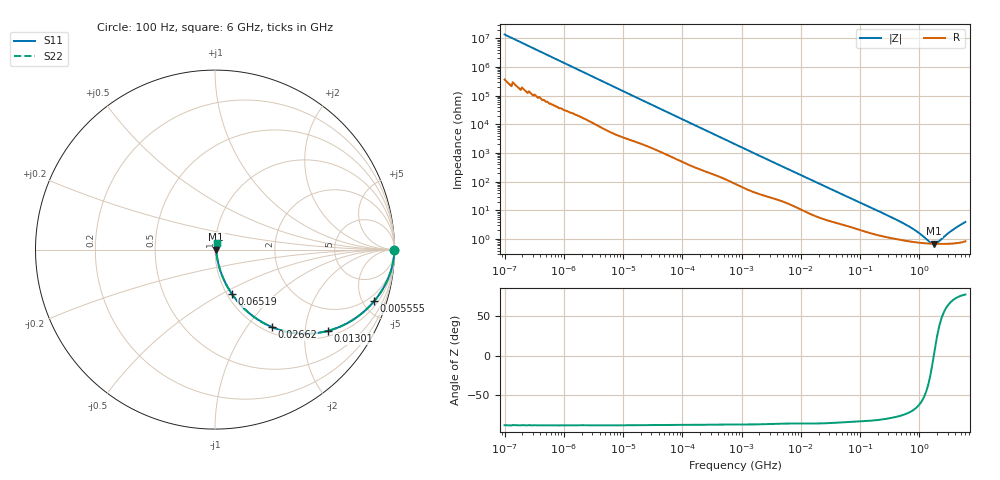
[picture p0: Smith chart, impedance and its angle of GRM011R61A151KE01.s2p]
!Murata Part Number: GRM011R61A151KE01
!These Parameters are Measured in Series Mode Connection
!Data Generated on Mar 30, 2021
!  o--ll--o
!Port1  Port2
!  o------o
!Operation Temp=25[degC], DC Bias Voltage=0[V]
!Freq. Start=100[Hz] Stop=6[GHz] 401[Steps]
# Hz S RI R 50
!Freq.(Hz) S11(Real) S11(Imag) S21(Real) S21(Imag) S12(Real) S12(Imag) S22(Real) S22(Imag)
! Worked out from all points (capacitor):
!   401 points, 100 Hz to 6 GHz, reference 50 ohm
!   read as one part in series: C = 118 pF near 109 Hz
!   lowest |Z| = 688 mohm at 1.791 GHz (marker M1)
!   series resonance near 1.757 GHz, so ESL is about 69 pH
!   S11 on the Smith chart (normalised r, x): 100 Hz: open; 5.555 MHz: 1.37, -6.00; 13.01 MHz: 1.17, -2.66; 26.62 MHz: 1.09, -1.32; 65.19 MHz: 1.05, -0.56; 6 GHz: 1.02, +0.08
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100  1 -7.4e-06  2e-07 7.4e-06  2e-07 7.4e-06  1 -7.4e-06
1283  1 -9.22e-05  2.2e-06 9.22e-05  2.2e-06 9.22e-05  1 -9.22e-05
2008  1 -0.000143  3.6e-06 0.000143  3.6e-06 0.000143  1 -0.000143
40335  0.9999 -0.00274  9.44e-05 0.00274  9.44e-05 0.00274  0.9999 -0.00274
774597  0.9956 -0.0488  0.00443 0.0488  0.00443 0.0488  0.9956 -0.0488
2169299  0.9763 -0.1304  0.0237 0.1304  0.0237 0.1304  0.9763 -0.1304
5554849  0.8859 -0.2883  0.1141 0.2883  0.1141 0.2883  0.8859 -0.2883
8692127  0.7792 -0.3843  0.2208 0.3843  0.2208 0.3843  0.7792 -0.3843
1.300572e7  0.631 -0.4522  0.369 0.4522  0.369 0.4522  0.631 -0.4522
1.555665e7  0.5524 -0.4667  0.4476 0.4667  0.4476 0.4667  0.5524 -0.4667
2.662322e7  0.3176 -0.4317  0.6824 0.4317  0.6824 0.4317  0.3176 -0.4317
4.165952e7  0.1764 -0.3419  0.8236 0.3419  0.8236 0.3419  0.1764 -0.3419
6.518806e7  0.0943 -0.2475  0.9057 0.2475  0.9057 0.2475  0.0943 -0.2475
1.395531e8  0.0337 -0.1292  0.9663 0.1292  0.9663 0.1292  0.0337 -0.1292
3.124326e8  0.0147 -0.06  0.9853 0.06  0.9853 0.06  0.0147 -0.06
7.31507e8  0.00861 -0.0231  0.9914 0.0231  0.9914 0.0231  0.00861 -0.0231
1.000774e9  0.00762 -0.014  0.9924 0.014  0.9924 0.014  0.00762 -0.014
1.497423e9  0.00695 -0.00383  0.9931 0.00383  0.9931 0.00383  0.00695 -0.00383
1.791126e9  0.00682 0.000466  0.9932 -0.000466  0.9932 -0.000466  0.00682 0.000466
2.048624e9  0.00679 0.00371  0.9932 -0.00371  0.9932 -0.00371  0.00679 0.00371
3.8344e9  0.00745 0.0209  0.9925 -0.0209  0.9925 -0.0209  0.00745 0.0209
6e9  0.00981 0.0382  0.9902 -0.0382  0.9902 -0.0382  0.00981 0.0382
